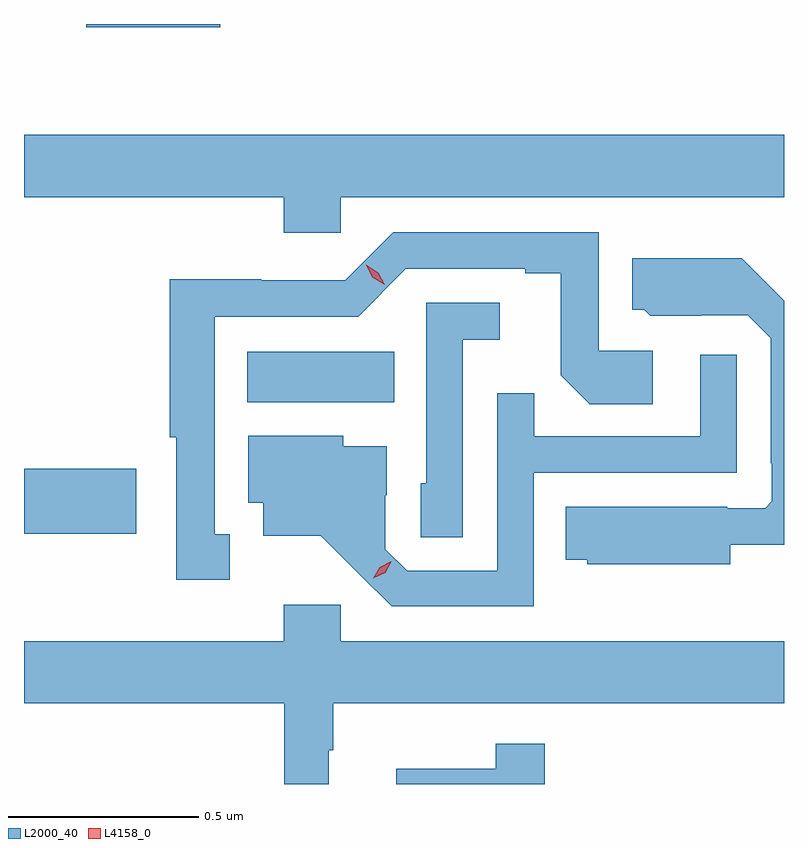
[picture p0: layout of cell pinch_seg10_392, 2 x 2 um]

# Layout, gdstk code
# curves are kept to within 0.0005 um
import gdstk
lib = gdstk.Library(unit=1e-6, precision=1e-09)
def R(c, l, rs):  # rectangles x0, y0, x1, y1
    for r in rs: c.add(gdstk.rectangle(r[:2], r[2:], *l))
def P(c, l, *ps):  # polygons
    for p in ps: c.add(gdstk.Polygon(p, *l))
L2000_40 = (2000, 40)
L4158_0 = (4158, 0)

pinch_seg10_392 = lib.new_cell('pinch_seg10_392')
R(pinch_seg10_392, L2000_40, [(593.214,1284.779,593.509,1284.95), (593.801,1285.124,594.188,1285.258), (593.378,1286.111,593.731,1286.12)])
P(pinch_seg10_392, L2000_40, [(594.048,1285.664),(595.214,1285.664),(595.214,1285.828),(593.214,1285.828),(593.214,1285.664),(593.897,1285.664),(593.897,1285.571),(594.048,1285.571)],
  [(593.755,1284.777),(593.716,1284.777),(593.716,1285.35),(594.093,1285.35),(594.219,1285.476),(594.533,1285.476),(594.533,1285.464),(594.627,1285.464),(594.627,1285.196),(594.703,1285.12),(594.868,1285.12),(594.868,1285.26),(594.726,1285.26),(594.726,1285.572),(594.186,1285.572),(594.06,1285.446),(593.838,1285.446),(593.838,1285.448),(593.598,1285.448),(593.598,1285.033),(593.615,1285.033),(593.615,1284.657),(593.755,1284.657)],
  [(595.072,1284.749),(595.214,1284.749),(595.214,1285.392),(595.103,1285.504),(594.815,1285.504),(594.815,1285.368),(594.846,1285.368),(594.862,1285.352),(594.996,1285.352),(594.996,1285.353),(595.119,1285.353),(595.179,1285.293),(595.179,1284.964),(595.182,1284.964),(595.182,1284.864),(595.164,1284.846),(595.064,1284.846),(595.064,1284.85),(594.64,1284.85),(594.64,1284.71),(594.696,1284.71),(594.696,1284.698),(595.072,1284.698)],
  [(594.369,1285.289),(594.466,1285.289),(594.466,1285.386),(594.273,1285.386),(594.273,1284.912),(594.258,1284.912),(594.258,1284.769),(594.369,1284.769)],
  [(594.555,1284.939),(595.089,1284.939),(595.089,1285.249),(594.993,1285.249),(594.993,1285.035),(594.557,1285.035),(594.557,1285.148),(594.459,1285.148),(594.459,1284.681),(594.222,1284.681),(594.165,1284.738),(594.165,1284.88),(594.169,1284.88),(594.169,1285.009),(594.054,1285.009),(594.054,1285.036),(593.804,1285.036),(593.804,1284.86),(593.843,1284.86),(593.843,1284.773),(593.995,1284.773),(594.182,1284.588),(594.555,1284.588)],
  [(594.016,1284.209),(594.028,1284.209),(594.028,1284.332),(595.214,1284.332),(595.214,1284.496),(594.048,1284.496),(594.048,1284.592),(593.897,1284.592),(593.897,1284.496),(593.214,1284.496),(593.214,1284.332),(593.899,1284.332),(593.899,1284.12),(594.016,1284.12)],
  [(594.584,1284.226),(594.456,1284.226),(594.456,1284.16),(594.194,1284.16),(594.194,1284.12),(594.584,1284.12)])
P(pinch_seg10_392, L4158_0, [(594.163,1285.434),(594.131,1285.453),(594.114,1285.486),(594.114,1285.486),(594.115,1285.486),(594.146,1285.466),(594.163,1285.434),(594.163,1285.434)],
  [(594.133,1284.661),(594.133,1284.661),(594.15,1284.69),(594.181,1284.706),(594.181,1284.706),(594.181,1284.705),(594.164,1284.676),(594.133,1284.661)])

lib.write_gds('pinch_seg10_392.gds')
